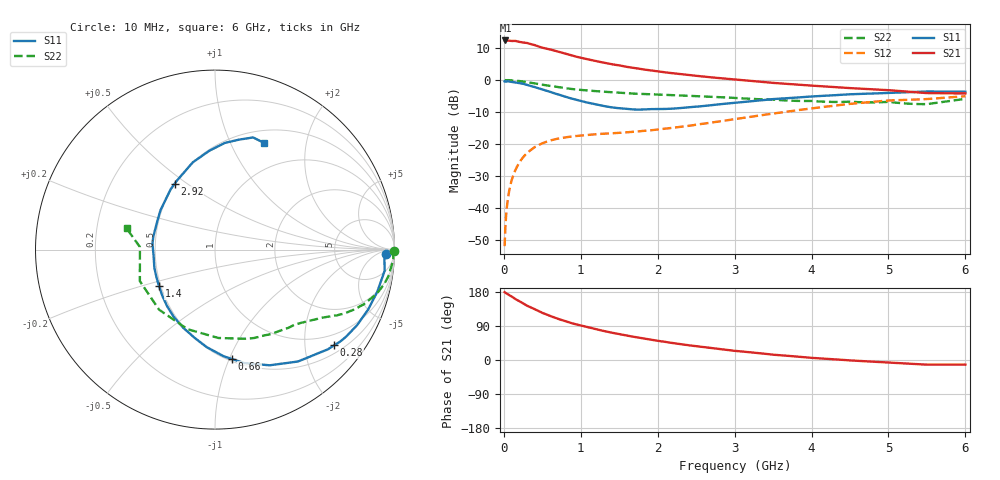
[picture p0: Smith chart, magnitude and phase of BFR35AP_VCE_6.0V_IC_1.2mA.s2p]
! Infineon Technologies  Discrete & RF Semiconductors
! BFR35AP
! VCE =  6.0 V,  IC =  1.2 mA
! Common Emitter S-Parameters:  Nov 2015
# GHz  S  MA  R  50
!  f  S11  S21  S12  S22
! GHz  MAG  ANG  MAG  ANG  MAG  ANG  MAG  ANG
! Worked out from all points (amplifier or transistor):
!   210 points, 10 MHz to 6 GHz, reference 50 ohm
!   highest |S21| = 12.4 dB at 20 MHz (marker M1)
!   |S21| within 3 dB of that: start of sweep to 630.3 MHz
!   unconditionally stable (mu >= 1): 1.397 GHz to 3.692 GHz; 5.325 GHz to 5.909 GHz
!   at 185 MHz: K = 0.17, MSG = 19.3 dB, |S12| = -26.5 dB
!   at 1.52 GHz: K = 1.06, MAG = 9.1 dB, |S12| = -16.5 dB
!   at 6 GHz: K = 0.99, MSG = 0.4 dB, |S12| = -5.1 dB
!   S11 on the Smith chart (normalised r, x): 10 MHz: 32, -16; 280 MHz: 0.69, -2.68; 660 MHz: 0.52, -1.02; 1.4 GHz: 0.49, -0.23; 2.92 GHz: 0.50, +0.45; 6 GHz: 0.64, +1.34
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0.01  0.9514 -1.4  4.082 179.1  0.0025 89.7  0.9999 -0.5
0.02  0.9451 -3.0  4.154 177.4  0.005 87.8  0.9912 -1.1
0.05  0.9525 -7.1  4.15 173.8  0.0131 86.3  0.9955 -2.9
0.1  0.9344 -14.5  4.077 167.9  0.0266 81.7  0.9862 -5.8
0.15  0.9162 -21.4  4.089 160.8  0.0388 76.7  0.9769 -8.8
0.28  0.8516 -38.8  3.818 145.9  0.0676 66.8  0.9329 -15.2
0.3  0.839 -41.5  3.793 143.5  0.0717 65.7  0.9249 -16.1
0.4  0.7758 -53.5  3.516 134.1  0.0886 59.3  0.8833 -20.2
0.5  0.713 -64.7  3.204 124.4  0.102 54.1  0.8423 -23.4
0.66  0.617 -81.2  2.879 112.0  0.1173 47.7  0.7873 -27.3
0.8  0.5455 -94.8  2.583 102.1  0.1264 43.7  0.7425 -30.1
1.02  0.4629 -113.9  2.199 89.8  0.1356 40.4  0.695 -33.4
1.2  0.4135 -130.1  1.975 80.8  0.1411 38.6  0.6674 -36.1
1.4  0.3729 -146.8  1.765 72.1  0.1461 38.5  0.6431 -38.9
1.62  0.3506 -164.9  1.589 63.5  0.152 39.7  0.6185 -42.0
2.02  0.351 167.0  1.35 50.1  0.1688 42.9  0.5905 -48.4
2.92  0.4297 121.6  1.04 26.2  0.2355 47.5  0.5303 -69.0
3.1  0.4499 115.4  0.995 22.4  0.2541 47.1  0.5151 -74.3
4.1  0.5595 91.5  0.801 4.4  0.371 39.6  0.4604 -113.6
5.1  0.6326 76.4  0.678 -7.7  0.4814 24.4  0.4406 -161.8
5.5  0.6599 71.3  0.623 -12.3  0.5024 17.0  0.4185 178.0
6  0.6543 65.6  0.615 -12.3  0.5567 12.1  0.5064 166.5
